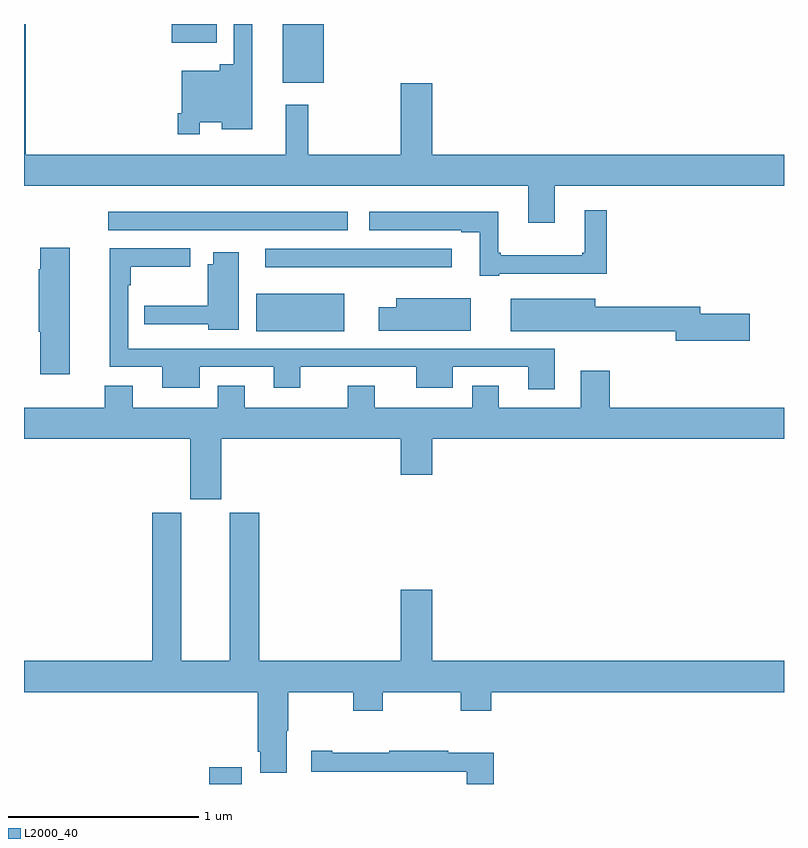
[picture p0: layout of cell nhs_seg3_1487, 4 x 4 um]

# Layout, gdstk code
import gdstk
lib = gdstk.Library(unit=1e-6, precision=1e-09)
def R(c, l, rs):  # rectangles x0, y0, x1, y1
    for r in rs: c.add(gdstk.rectangle(r[:2], r[2:], *l))
def P(c, l, *ps):  # polygons
    for p in ps: c.add(gdstk.Polygon(p, *l))
L2000_40 = (2000, 40)

nhs_seg3_1487 = lib.new_cell('nhs_seg3_1487')
R(nhs_seg3_1487, L2000_40, [(187.976,732.4,188.146,732.487), (188.222,734.783,188.686,734.98), (188.271,735.119,189.25,735.216), (187.443,735.315,188.704,735.412), (188.363,736.091,188.578,736.4), (187.778,736.301,188.014,736.4)])
P(nhs_seg3_1487, L2000_40, [(189.793,735.548),(191,735.548),(191,735.712),(189.148,735.712),(189.148,736.087),(188.984,736.087),(188.984,735.712),(188.495,735.712),(188.495,735.976),(188.378,735.976),(188.378,735.712),(187.01,735.712),(187.01,736.4),(187,736.4),(187,735.548),(189.653,735.548),(189.653,735.354),(189.793,735.354)],
  [(187.926,735.884),(188.042,735.884),(188.042,735.845),(188.2,735.845),(188.2,736.4),(188.103,736.4),(188.103,736.189),(188.03,736.189),(188.03,736.153),(187.83,736.153),(187.83,735.931),(187.81,735.931),(187.81,735.819),(187.926,735.819)],
  [(189.502,735.086),(190.067,735.086),(190.067,735.421),(189.95,735.421),(189.95,735.196),(189.939,735.196),(189.939,735.184),(189.508,735.184),(189.508,735.196),(189.496,735.196),(189.496,735.412),(188.817,735.412),(188.817,735.315),(189.302,735.315),(189.302,735.303),(189.398,735.303),(189.398,735.075),(189.502,735.075)],
  [(187.24,735.223),(187.085,735.223),(187.085,735.11),(187.078,735.11),(187.078,734.779),(187.085,734.779),(187.085,734.556),(187.24,734.556)],
  [(189.793,734.691),(187.548,734.691),(187.548,735.026),(187.561,735.026),(187.561,735.122),(187.876,735.122),(187.876,735.219),(187.451,735.219),(187.451,734.595),(187.727,734.595),(187.727,734.486),(187.924,734.486),(187.924,734.595),(188.315,734.595),(188.315,734.486),(188.455,734.486),(188.455,734.595),(189.065,734.595),(189.065,734.486),(189.256,734.486),(189.256,734.595),(189.653,734.595),(189.653,734.478),(189.793,734.478)],
  [(188.131,735.199),(187.997,735.199),(187.997,735.136),(187.967,735.136),(187.967,734.918),(187.633,734.918),(187.633,734.82),(187.971,734.82),(187.971,734.792),(188.131,734.792)],
  [(189.352,734.956),(188.96,734.956),(188.96,734.908),(188.868,734.908),(188.868,734.786),(189.352,734.786)],
  [(190.819,734.876),(190.558,734.876),(190.558,734.912),(190.006,734.912),(190.006,734.953),(189.563,734.953),(189.563,734.783),(190.102,734.783),(190.102,734.784),(190.43,734.784),(190.43,734.734),(190.819,734.734)],
  [(188.038,734.216),(188.984,734.216),(188.984,734.028),(189.148,734.028),(189.148,734.216),(191,734.216),(191,734.38),(190.082,734.38),(190.082,734.575),(189.929,734.575),(189.929,734.38),(189.499,734.38),(189.499,734.497),(189.359,734.497),(189.359,734.38),(188.845,734.38),(188.845,734.497),(188.705,734.497),(188.705,734.38),(188.161,734.38),(188.161,734.497),(188.021,734.497),(188.021,734.38),(187.573,734.38),(187.573,734.497),(187.426,734.497),(187.426,734.38),(187,734.38),(187,734.216),(187.874,734.216),(187.874,733.899),(188.038,733.899)],
  [(188.383,732.68),(188.391,732.68),(188.391,732.884),(188.734,732.884),(188.734,732.785),(188.889,732.785),(188.889,732.884),(189.298,732.884),(189.298,732.785),(189.458,732.785),(189.458,732.884),(191,732.884),(191,733.048),(189.148,733.048),(189.148,733.423),(188.984,733.423),(188.984,733.048),(188.237,733.048),(188.237,733.827),(188.084,733.827),(188.084,733.048),(187.828,733.048),(187.828,733.827),(187.676,733.827),(187.676,733.048),(187,733.048),(187,732.884),(188.231,732.884),(188.231,732.571),(188.243,732.571),(188.243,732.459),(188.383,732.459)],
  [(189.473,732.564),(189.233,732.564),(189.233,732.574),(188.923,732.574),(188.923,732.564),(188.623,732.564),(188.623,732.574),(188.511,732.574),(188.511,732.464),(188.786,732.464),(188.786,732.465),(189.12,732.465),(189.12,732.464),(189.33,732.464),(189.33,732.4),(189.473,732.4)])

lib.write_gds('nhs_seg3_1487.gds')
